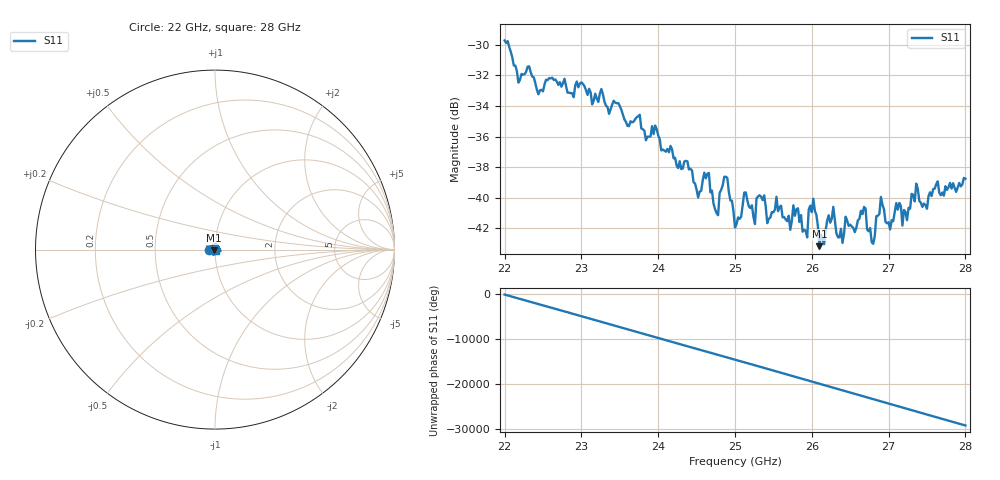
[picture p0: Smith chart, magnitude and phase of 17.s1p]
#  HZ  S  RI  R  50.00
! Rohde & Schwarz ZVA40 4Ports - Version 3.90 - 1145.1110k42 SN: 100403
! Date: 2023-10-04 10:26:26
! Measurement: S12
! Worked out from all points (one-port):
!   301 points, 22 GHz to 28 GHz, reference 50 ohm
!   lowest |S11| = -43.2 dB at 26.1 GHz (marker M1), VSWR 1.01, Z = 49.4 - j0.284 ohm
!   |S11| at or under -10 dB: start of sweep to end of sweep
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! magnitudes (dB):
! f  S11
! 22 GHz  -29.7
! 22.18 GHz  -32.5
! 22.76 GHz  -32.5
! 23.5 GHz  -34.0
! 24.26 GHz  -38.1
! 24.52 GHz  -40.0
! 24.66 GHz  -38.4
! 24.78 GHz  -41.1
! 24.9 GHz  -38.7
! 25 GHz  -41.9
! 25.12 GHz  -39.7
! 25.26 GHz  -41.7
! 25.32 GHz  -39.8
! 25.42 GHz  -41.7
! 25.72 GHz  -42.1
! 25.76 GHz  -40.5
! 25.94 GHz  -42.6
! 26.02 GHz  -40.1
! 26.1 GHz  -43.2
! 26.28 GHz  -40.6
! 26.4 GHz  -42.9
! 26.5 GHz  -41.8
! 26.68 GHz  -40.6
! 26.8 GHz  -43.0
! 26.9 GHz  -39.9
! 27.02 GHz  -42.1
! 27.26 GHz  -40.7
! 28 GHz  -38.8
